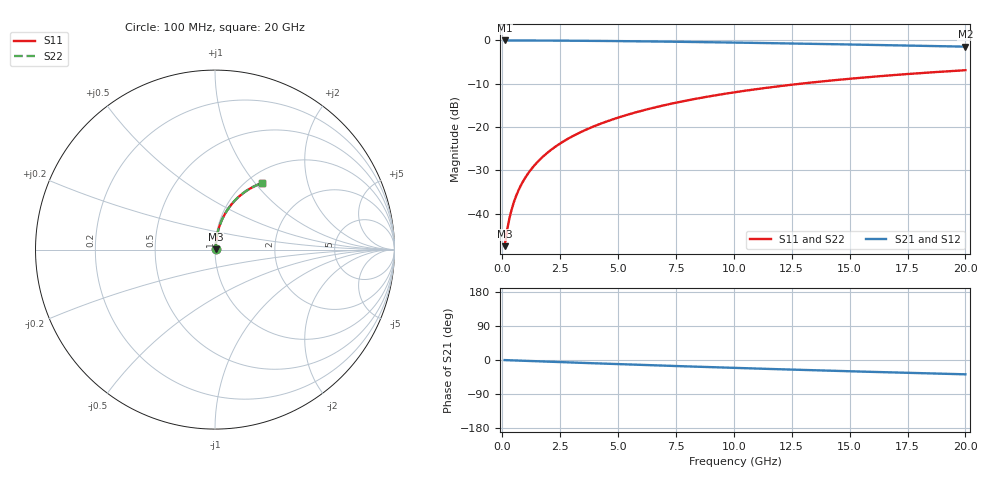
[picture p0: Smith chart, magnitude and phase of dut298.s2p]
! Touchstone file exported from HFSS 2024.1.0
!  File:  C:/UserFiles/LocalFiles/RDL_TSV_Batchsim/temp_RDL_bottom_298_1778703693.aedt
!  Generated:  04:23:54 AM May 14, 2026
!  Design:  RDL_bottom
!  Project:  temp_RDL_bottom_298_1778703693
!  Setup:  Setup1
!  Solution:  Sweep
! Variables:
!  dtsv = 10.80580581um
!  hbump = 3um
!  htsv = 71.89um
!  ldown = 440.66um
!  lrdl = 100um
!  p = 40
!  p1 = 59.19um
!  rhole = 1um
!  t = 450um
!  tdown = 3.87um
!  trdl = 3.915915916um
!  wdown = 12.68um
!  wrdl = 20um
# GHz S MA R 50.000000
! Terminal data exported
! Port[1] = RDL1_T1
! Port[2] = RDL1_T2
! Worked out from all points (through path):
!   200 points, 100 MHz to 20 GHz, reference 50 ohm
!   highest |S21| = -0.03 dB at 100 MHz (marker M1); lowest = -1.5 dB at 20 GHz (marker M2)
!   group delay of S21, straight-line fit = 5.24 ps
!   lowest |S11| = -47.5 dB at 100 MHz (marker M3), VSWR 1.01, Z = 50.3 + j0.267 ohm
!   |S11| at or under -10 dB: start of sweep to 12.9 GHz
!   |S22| runs from -47.5 to -6.9 dB; largest |S21 - S12| = 2.6e-15
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0.1  0.004215 39.1  0.9967 -0.2  0.9967 -0.2  0.004215 39.1
! Gamma 0 0 0 0
! Port Impedance 50 0 50 0
0.2  0.006262 57.8  0.9967 -0.5  0.9967 -0.5  0.006262 57.8
0.3  0.008627 66.5  0.9966 -0.7  0.9966 -0.7  0.008627 66.5
0.4  0.01109 71.3  0.9965 -0.9  0.9965 -0.9  0.01109 71.3
0.5  0.01359 74.3  0.9963 -1.1  0.9963 -1.1  0.01359 74.3
0.6  0.0161 76.3  0.9962 -1.3  0.9962 -1.3  0.0161 76.3
0.8  0.02115 78.8  0.9959 -1.8  0.9959 -1.8  0.02115 78.8
1.1  0.02877 80.8  0.9955 -2.4  0.9955 -2.4  0.02877 80.8
1.5  0.03897 81.9  0.9947 -3.3  0.9947 -3.3  0.03897 81.9
1.8  0.04664 82.3  0.994 -4.0  0.994 -4.0  0.04664 82.3
2.1  0.05431 82.4  0.9932 -4.6  0.9932 -4.6  0.05431 82.4
2.7  0.06967 82.2  0.9912 -5.9  0.9912 -5.9  0.06967 82.2
3.5  0.09012 81.5  0.988 -7.7  0.988 -7.7  0.09012 81.5
4.2  0.108 80.6  0.9846 -9.2  0.9846 -9.2  0.108 80.6
5  0.1283 79.5  0.9801 -10.8  0.9801 -10.8  0.1283 79.5
5.9  0.1509 78.1  0.9745 -12.7  0.9745 -12.7  0.151 78.1
6.8  0.1734 76.7  0.9682 -14.5  0.9682 -14.5  0.1734 76.7
8.3  0.2102 74.2  0.9568 -17.5  0.9568 -17.5  0.2103 74.2
10.1  0.2531 71.1  0.9417 -20.9  0.9417 -20.9  0.2531 71.1
13.4  0.3269 65.5  0.9113 -27.0  0.9113 -27.0  0.327 65.5
16.7  0.3935 60.0  0.8787 -32.6  0.8787 -32.6  0.3935 60.0
20  0.4522 54.9  0.8454 -37.8  0.8454 -37.8  0.4523 54.9
